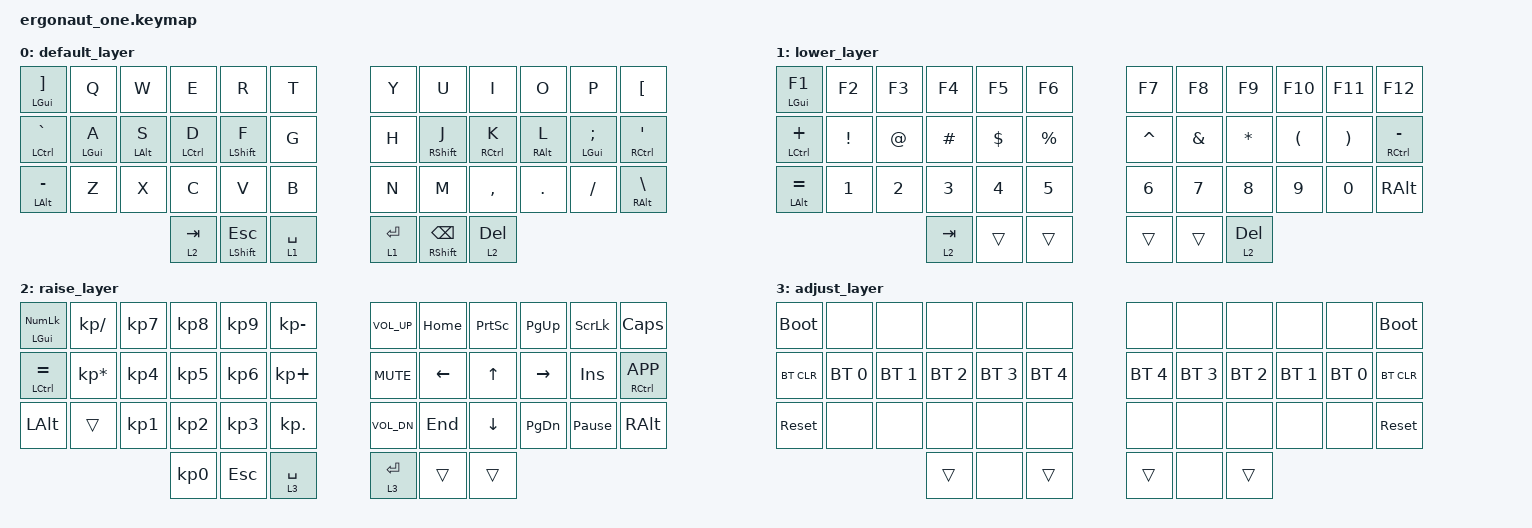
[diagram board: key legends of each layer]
#include <behaviors.dtsi>
#include <dt-bindings/zmk/keys.h>
#include <dt-bindings/zmk/bt.h>

#define DEF 0
#define LWR 1
#define RSE 2
#define ADJ 3

&lt {
    quick-tap-ms = <200>;
};

&mt {
    quick-tap-ms = <200>;
};

/ {
    behaviors {
        hm: homerow_mods {
            compatible = "zmk,behavior-hold-tap";
            label = "HOMEROW_MODS";
            #binding-cells = <2>;
            tapping-term-ms = <200>;
            quick_tap_ms = <0>;
            flavor = "tap-preferred";
            bindings = <&kp>, <&kp>;
        };
    };
};

/ {
    combos {
        compatible = "zmk,combos";

        combo_ESC {
            timeout-ms = <50>;
            key-positions = <0 1>;
            bindings = <&kp ESC>;
        };

        combo_ENTER {
            timeout-ms = <50>;
            key-positions = <22 23>;
            bindings = <&kp ENTER>;
        };

        combo_BS {
            timeout-ms = <50>;
            key-positions = <10 11>;
            bindings = <&kp BSPC>;
        };

        combo_Del {
            timeout-ms = <50>;
            key-positions = <10 11>;
            bindings = <&kp DEL>;
            layers = <1>;
        };
    };
};


/ {
    conditional_layers {
        compatible = "zmk,conditional-layers";

        tri-layer {
            if-layers = <1 2>;
            then-layer = <3>;
        };
    };

    keymap {
        compatible = "zmk,keymap";

        default_layer {
            // .-------------------------------------------------------.       .-----------------------------------------------------------.
            // | GUI/] |    Q    |    W   |   E    |    R    |    T    |       |   Y   |    U    |    I    |    O    |     P    |     [    |
            // |-------+---------+--------+--------+---------+---------|       |-------+---------+---------+---------+----------+----------|
            // |LCTRL/`|  GUI/A  | ALT/S  | CTRL/D | SHIFT/F |    G    |       |   H   | SHIFT/J | CTRL/K  |  ALT/L  |  GUI/;   |  CTRL\'  |
            // |-------+---------+--------+--------+---------+---------|       |-------+---------+---------+---------+----------+----------|
            // | ATL/- |    Z    |    X   |   C    |    V    |    B    |       |   N   |    M    |    ,    |    .    |     /    |  ALT/\   |
            // '--------------------------+--------+---------+---------+       |-------+---------+---------+-------------------------------'
            //                            |RSE/TAB |SHIFT/ESC| LOW/SPC |       |LOW/RET|SHIFT/BKS|RSE/DEL  |
            //                            '--------+---------+---------'       '-------+---------+---------'

            bindings = <
&mt LEFT_GUI RBKT       &kp Q           &kp W           &kp E        &kp R              &kp T          &kp Y        &kp U                      &kp I         &kp O            &kp P                   &kp LBKT
&mt LEFT_CONTROL GRAVE  &hm LEFT_GUI A  &hm LEFT_ALT S  &hm LCTRL D  &hm LEFT_SHIFT F   &kp G          &kp H        &hm RIGHT_SHIFT J          &hm RCTRL K   &hm RIGHT_ALT L  &hm LEFT_GUI SEMICOLON  &mt RIGHT_CONTROL SQT
&mt LEFT_ALT MINUS      &kp Z           &kp X           &kp C        &kp V              &kp B          &kp N        &kp M                      &kp COMMA     &kp DOT          &kp FSLH                &mt RIGHT_ALT BSLH
                                                        &lt 2 TAB    &mt LSHIFT ESCAPE  &lt 1 SPACE    &lt 1 ENTER  &mt RIGHT_SHIFT BACKSPACE  &lt 2 DELETE
            >;
        };

        lower_layer {
            // .----------------------------------------------------------.       .-----------------------------------------------------.
            // |  GUL/F1   |  F2    |  F3    |  F4    |   F5    |   F6     |       |   F7   |   F8   |   F9    |   F10  |  f11   |  F12  |
            // |-----------+--------+--------+--------+---------+----------|       |--------+--------+---------+--------+--------+-------|
            // |  CTRL/+   |    !   |    @   |   #    |    $    |     %    |       |    ^   |    &   |     *   |    (   |   )    |CTRL/- |
            // |-----------+--------+--------+--------+---------+----------|       |--------+--------+---------+--------+--------+-------|
            // |   ALT/=   |    1   |    2   |   3     |   4    |     5    |       |    6   |    7   |    8    |    9   |   0    | ALT   |
            // '-----------------------------+--------+---------+----------+       |--------+--------+---------+-------------------------'
            //                               |RSE/TAB |         |          |       |        |        | RSE/DEL |
            //                               '--------+---------+----------'       '--------+--------+---------'

            bindings = <
&mt LGUI F1     &kp F2    &kp F3  &kp F4     &kp F5    &kp F6       &kp F7     &kp F8    &kp F9        &kp F10   &kp F11   &kp F12
&mt LCTRL PLUS  &kp EXCL  &kp AT  &kp HASH   &kp DLLR  &kp PRCNT    &kp CARET  &kp AMPS  &kp STAR      &kp LPAR  &kp RPAR  &mt RCTRL MINUS
&mt LALT EQUAL  &kp N1    &kp N2  &kp N3     &kp N4    &kp N5       &kp N6     &kp N7    &kp N8        &kp N9    &kp N0    &kp RALT
                                  &lt 2 TAB  &trans    &trans       &trans     &trans    &lt 2 DELETE
            >;
        };

        raise_layer {
            // .------------------------------------------------------.       .-----------------------------------------------------.
            // | GUI/NUM |    /   |    7   |    8   |    9   |    -   |       | VOL_UP |  HOME  | PSCRN  | PG_UP  |  SLCK  |  CAPS  |
            // |---------+--------+--------+--------+--------+--------|       |--------+--------+--------+--------+--------+--------|
            // | CTRL/=  |    *   |    4   |    5   |    6   |    +   |       |  MUTE  | M_LEFT |  M_UP  |M_RIGHT |   INS  |CTRL/APP|
            // |---------+--------+--------+--------+--------+--------|       |--------+--------+--------+--------+--------+--------|
            // |   ALT   |        |    1   |    2   |    3   |    .   |       |VOL_DN  |  END   | M_DOWN |  PG_DN |  PAUSE |   ALT  |
            // '---------------------------+--------+--------+--------+       |--------+--------+--------+--------------------------'
            //                             |    0   |   ESC  |ADJ/SPCE|       |ADJ/ENT |        |        |
            //                             '--------+--------+--------'       '--------+--------+--------'

            bindings = <
&mt LGUI KP_NUM  &kp KP_SLASH     &kp KP_N7  &kp KP_N8  &kp KP_N9   &kp KP_MINUS    &kp C_VOL_UP  &kp HOME  &kp PSCRN  &kp PG_UP  &kp SLCK         &kp CLCK
&mt LCTRL EQUAL  &kp KP_MULTIPLY  &kp KP_N4  &kp KP_N5  &kp KP_N6   &kp KP_PLUS     &kp C_MUTE    &kp LEFT  &kp UP     &kp RIGHT  &kp INS          &mt RCTRL K_APP
&kp LALT         &trans           &kp KP_N1  &kp KP_N2  &kp KP_N3   &kp KP_DOT      &kp C_VOL_DN  &kp END   &kp DOWN   &kp PG_DN  &kp PAUSE_BREAK  &kp RALT
                                             &kp KP_N0  &kp ESCAPE  &lt 3 SPACE     &lt 3 ENTER   &trans    &trans
            >;
        };

        adjust_layer {
            // .--------------------------------------------------------.       .------------------------------------------------------.
            // | loader  |        |        |        |         |         |       |        |        |        |        |        |  loader |
            // |---------+--------+--------+--------+---------+---------|       |--------+--------+--------+--------+--------+---------|
            // | BTCLR   |  BT1   |  BT2   |  BT3   |  BT4    |  BT5    |       |  BT5   |  BT4   |  BT3   |  BT2   |  BT1   |  BTCLR  |
            // |---------+--------+--------+--------+---------+---------|       |--------+--------+--------+--------+--------+---------|
            // |  reset  |        |        |        |         |         |       |        |        |        |        |        |  reset  |
            // '---------------------------+--------+---------+---------+       |--------+--------+--------+---------------------------'
            //                             |        |         |         |       |        |        |        |
            //                             '--------+---------+---------'       '--------+--------+--------'

            bindings = <
&bootloader  &none         &none         &none         &none         &none           &none         &none         &none         &none         &none         &bootloader
&bt BT_CLR   &bt BT_SEL 0  &bt BT_SEL 1  &bt BT_SEL 2  &bt BT_SEL 3  &bt BT_SEL 4    &bt BT_SEL 4  &bt BT_SEL 3  &bt BT_SEL 2  &bt BT_SEL 1  &bt BT_SEL 0  &bt BT_CLR
&sys_reset   &none         &none         &none         &none         &none           &none         &none         &none         &none         &none         &sys_reset
                                         &trans        &none         &trans          &trans        &none         &trans
            >;
        };
    };
};
